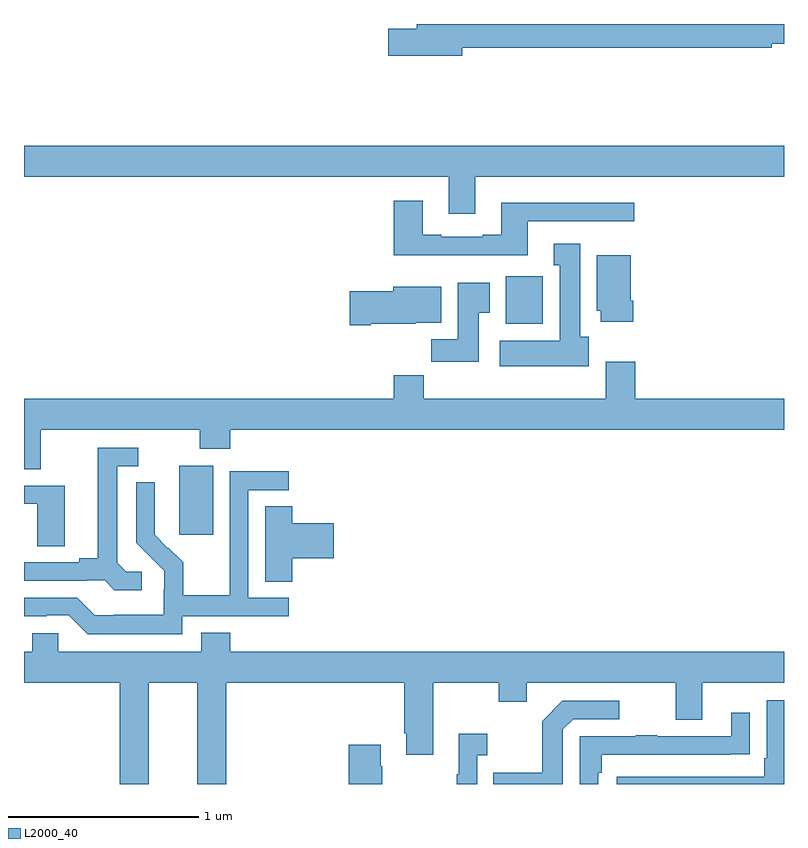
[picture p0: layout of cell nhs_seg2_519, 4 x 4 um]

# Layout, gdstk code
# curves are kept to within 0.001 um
import gdstk
lib = gdstk.Library(unit=1e-6, precision=1e-09)
def R(c, l, rs):  # rectangles x0, y0, x1, y1
    for r in rs: c.add(gdstk.rectangle(r[:2], r[2:], *l))
def P(c, l, *ps):  # polygons
    for p in ps: c.add(gdstk.Polygon(p, *l))
L2000_40 = (2000, 40)

nhs_seg2_519 = lib.new_cell('nhs_seg2_519')
R(nhs_seg2_519, L2000_40, [(137.816,619.113,137.995,619.474), (139.535,620.222,139.731,620.473)])
P(nhs_seg2_519, L2000_40, [(139.306,621.676),(140.936,621.676),(140.936,621.695),(141,621.695),(141,621.8),(139.067,621.8),(139.067,621.776),(138.918,621.776),(138.918,621.634),(139.306,621.634)],
  [(139.375,620.996),(141,620.996),(141,621.16),(137,621.16),(137,620.996),(139.235,620.996),(139.235,620.802),(139.375,620.802)],
  [(139.651,620.763),(140.212,620.763),(140.212,620.86),(139.511,620.86),(139.511,620.692),(139.415,620.692),(139.415,620.679),(139.195,620.679),(139.195,620.692),(139.099,620.692),(139.099,620.869),(138.947,620.869),(138.947,620.582),(139.651,620.582)],
  [(139.972,620.154),(139.927,620.154),(139.927,620.644),(139.787,620.644),(139.787,620.531),(139.82,620.531),(139.82,620.134),(139.503,620.134),(139.503,620),(139.972,620)],
  [(140.207,620.344),(140.194,620.344),(140.194,620.584),(140.015,620.584),(140.015,620.292),(140.036,620.292),(140.036,620.232),(140.207,620.232)],
  [(139.393,620.281),(139.45,620.281),(139.45,620.437),(139.283,620.437),(139.283,620.14),(139.144,620.14),(139.144,620.022),(139.393,620.022)],
  [(138.826,620.222),(139.062,620.222),(139.062,620.228),(139.195,620.228),(139.195,620.416),(138.944,620.416),(138.944,620.393),(138.714,620.393),(138.714,620.215),(138.826,620.215)],
  [(137.089,619.664),(137.926,619.664),(137.926,619.565),(138.086,619.565),(138.086,619.664),(141,619.664),(141,619.828),(140.216,619.828),(140.216,620.023),(140.063,620.023),(140.063,619.828),(139.103,619.828),(139.103,619.952),(138.947,619.952),(138.947,619.828),(137,619.828),(137,619.456),(137.089,619.456)],
  [(137.62,618.918),(137.538,618.918),(137.491,618.965),(137.491,619.473),(137.602,619.473),(137.602,619.569),(137.387,619.569),(137.387,618.989),(137.291,618.989),(137.291,618.966),(137,618.966),(137,618.87),(137.33,618.87),(137.33,618.873),(137.424,618.873),(137.476,618.821),(137.62,618.821)],
  [(137.832,618.684),(138.394,618.684),(138.394,618.78),(138.18,618.78),(138.18,619.347),(138.394,619.347),(138.394,619.446),(138.084,619.446),(138.084,619.016),(138.082,619.016),(138.082,618.793),(137.837,618.793),(137.837,618.967),(137.76,619.044),(137.757,619.041),(137.687,619.112),(137.688,619.388),(137.592,619.388),(137.592,619.07),(137.738,618.922),(137.738,618.825),(137.736,618.825),(137.736,618.691),(137.473,618.691),(137.473,618.687),(137.373,618.687),(137.28,618.78),(137,618.78),(137,618.683),(137.12,618.684),(137.12,618.687),(137.235,618.687),(137.335,618.587),(137.832,618.587)],
  [(137.215,619.371),(137,619.371),(137,619.275),(137.07,619.275),(137.07,619.051),(137.215,619.051)],
  [(138.413,618.989),(138.631,618.989),(138.631,619.172),(138.413,619.172),(138.413,619.262),(138.269,619.262),(138.269,618.865),(138.413,618.865)],
  [(137.656,618.332),(137.912,618.332),(137.912,617.8),(138.065,617.8),(138.065,618.332),(139.001,618.332),(139.001,618.067),(139.013,618.067),(139.013,617.955),(139.153,617.955),(139.153,618.332),(139.498,618.332),(139.498,618.233),(139.645,618.233),(139.645,618.332),(140.429,618.332),(140.429,618.138),(140.569,618.138),(140.569,618.332),(141,618.332),(141,618.496),(138.086,618.496),(138.086,618.595),(137.933,618.595),(137.933,618.496),(137.181,618.496),(137.181,618.594),(137.043,618.594),(137.043,618.496),(137,618.496),(137,618.332),(137.504,618.332),(137.504,617.8),(137.656,617.8)],
  [(141,618.24),(140.91,618.24),(140.91,617.935),(140.897,617.935),(140.897,617.838),(140.121,617.838),(140.121,617.8),(141,617.8)],
  [(139.836,618.087),(139.89,618.141),(140.134,618.141),(140.134,618.237),(139.833,618.237),(139.728,618.131),(139.728,617.859),(139.471,617.859),(139.471,617.8),(139.836,617.8)],
  [(140.022,617.858),(140.042,617.858),(140.042,617.955),(140.717,617.955),(140.717,617.956),(140.819,617.956),(140.819,618.175),(140.723,618.175),(140.723,618.051),(140.333,618.051),(140.333,618.056),(140.221,618.056),(140.221,618.051),(139.926,618.051),(139.926,617.8),(140.022,617.8)],
  [(139.386,617.951),(139.438,617.951),(139.438,618.064),(139.289,618.064),(139.289,617.851),(139.278,617.851),(139.278,617.8),(139.386,617.8)],
  [(138.885,617.894),(138.877,617.894),(138.877,618.007),(138.71,618.007),(138.71,617.8),(138.885,617.8)])

lib.write_gds('nhs_seg2_519.gds')
